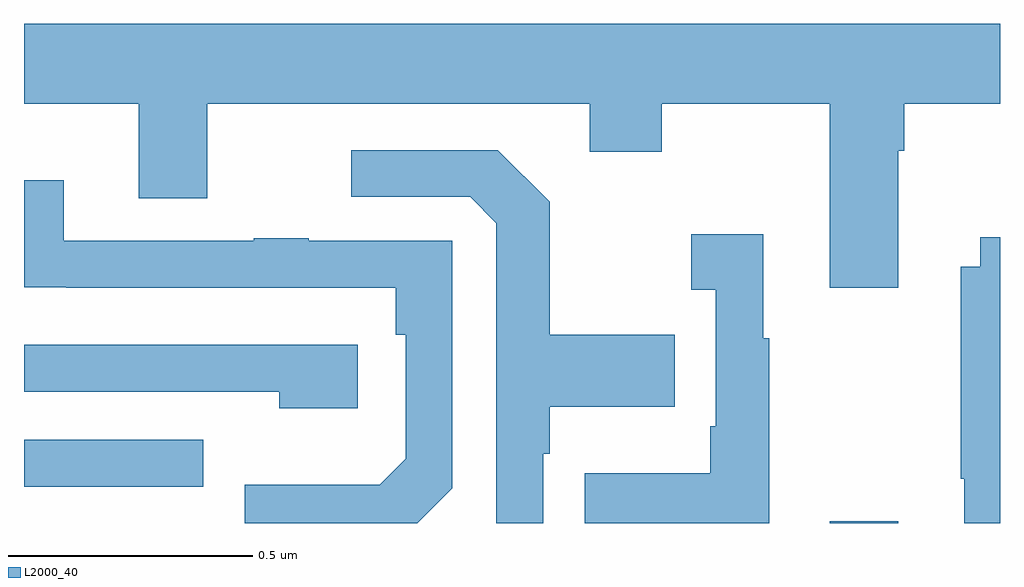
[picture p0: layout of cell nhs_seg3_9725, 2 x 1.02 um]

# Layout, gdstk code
import gdstk
lib = gdstk.Library(unit=1e-6, precision=1e-09)
def R(c, l, rs):  # rectangles x0, y0, x1, y1
    for r in rs: c.add(gdstk.rectangle(r[:2], r[2:], *l))
def P(c, l, *ps):  # polygons
    for p in ps: c.add(gdstk.Polygon(p, *l))
L2000_40 = (2000, 40)

nhs_seg3_9725 = lib.new_cell('nhs_seg3_9725')
R(nhs_seg3_9725, L2000_40, [(233.651,689.4,233.791,689.404), (232,689.475,232.367,689.571)])
P(nhs_seg3_9725, L2000_40, [(232,690.26),(232.235,690.26),(232.235,690.066),(232.375,690.066),(232.375,690.26),(233.159,690.26),(233.159,690.161),(233.307,690.161),(233.307,690.26),(233.651,690.26),(233.651,689.883),(233.791,689.883),(233.791,690.164),(233.804,690.164),(233.804,690.26),(234,690.26),(234,690.424),(232,690.424)],
  [(233.064,689.543),(233.077,689.543),(233.077,689.639),(233.333,689.639),(233.333,689.787),(233.077,689.787),(233.077,690.059),(232.971,690.165),(232.671,690.165),(232.671,690.069),(232.914,690.069),(232.968,690.015),(232.968,689.4),(233.064,689.4)],
  [(232.878,689.472),(232.878,689.979),(232.583,689.979),(232.583,689.984),(232.471,689.984),(232.471,689.979),(232.081,689.979),(232.081,690.103),(232,690.103),(232,689.884),(232.087,689.884),(232.087,689.883),(232.762,689.883),(232.762,689.786),(232.782,689.786),(232.782,689.532),(232.729,689.479),(232.452,689.479),(232.452,689.4),(232.806,689.4)],
  [(233.527,689.779),(233.515,689.779),(233.515,689.992),(233.367,689.992),(233.367,689.879),(233.418,689.879),(233.418,689.599),(233.406,689.599),(233.406,689.503),(233.149,689.503),(233.149,689.4),(233.527,689.4)],
  [(234,689.986),(233.96,689.986),(233.96,689.926),(233.92,689.926),(233.92,689.491),(233.927,689.491),(233.927,689.4),(234,689.4)],
  [(232.684,689.766),(232,689.766),(232,689.67),(232.523,689.67),(232.523,689.636),(232.684,689.636)])

lib.write_gds('nhs_seg3_9725.gds')
